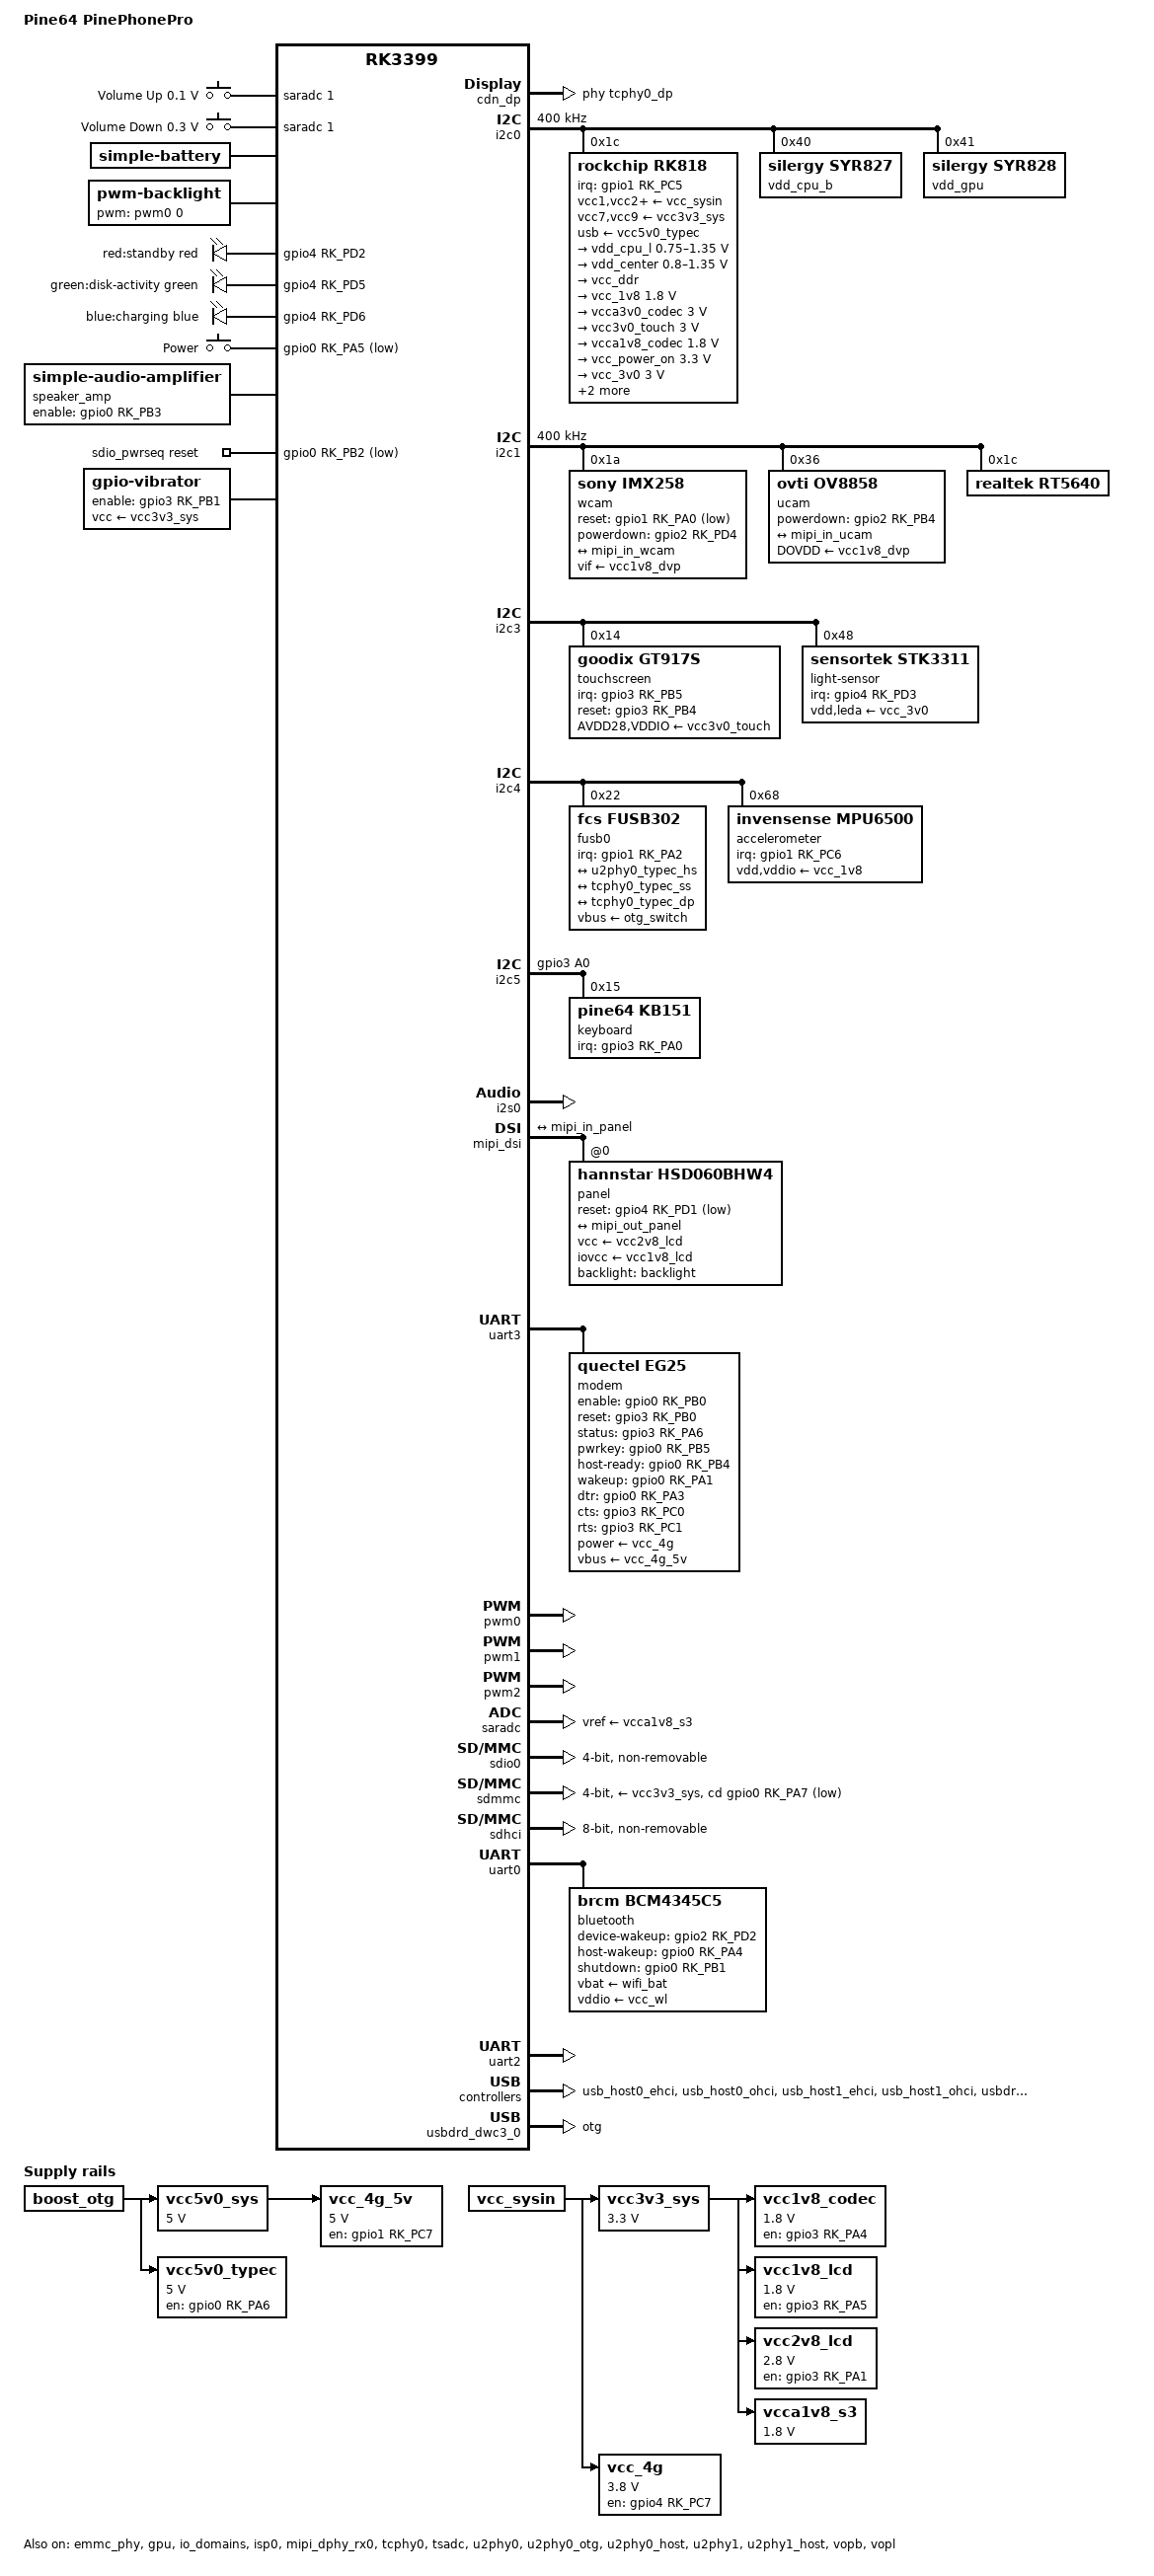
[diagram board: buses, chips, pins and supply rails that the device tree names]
// SPDX-License-Identifier: (GPL-2.0+ OR MIT)
/*
 * Copyright (c) 2020 Martijn Braam <martijn@brixit.nl>
 * Copyright (c) 2021 Kamil Trzciński <ayufan@ayufan.eu>
 */

/dts-v1/;
#include <dt-bindings/input/gpio-keys.h>
#include <dt-bindings/input/linux-event-codes.h>
#include <dt-bindings/usb/pd.h>
#include <dt-bindings/leds/common.h>
#include "rk3399.dtsi"
#include "rk3399-opp.dtsi"

/ {
	model = "Pine64 PinePhonePro";
	compatible = "pine64,pinephone-pro", "rockchip,rk3399";
	chassis-type = "handset";

	aliases {
		mmc0 = &sdio0;
		mmc1 = &sdmmc;
		mmc2 = &sdhci;
	};

	chosen {
		bootargs = "earlycon=uart8250,mmio32,0xff1a0000";
		stdout-path = "serial2:1500000n8";
	};

	adc-keys {
		compatible = "adc-keys";
		io-channels = <&saradc 1>;
		io-channel-names = "buttons";
		keyup-threshold-microvolt = <1600000>;
		poll-interval = <100>;

		button-up {
			label = "Volume Up";
			linux,code = <KEY_VOLUMEUP>;
			press-threshold-microvolt = <100000>;
		};

		button-down {
			label = "Volume Down";
			linux,code = <KEY_VOLUMEDOWN>;
			press-threshold-microvolt = <300000>;
		};
	};

        bat: battery {
                compatible = "simple-battery";
                voltage-min-design-microvolt = <3400000>;
                voltage-max-design-microvolt = <4350000>;
                energy-full-design-microwatt-hours = <11400000>;
                charge-full-design-microamp-hours = <3000000>;
                precharge-current-microamp = <120000>;
                charge-term-current-microamp = <150000>;
                constant-charge-current-max-microamp = <1500000>;
                constant-charge-voltage-max-microvolt = <4350000>;
                factory-internal-resistance-micro-ohms = <150000>;
                resistance-temp-table = <20 150>;
                ocv-capacity-celsius = <20>;
                ocv-capacity-table-0 =
			<4308000 100>,
			<4217000 95>,
			<4161000 90>,
			<4110000 85>,
			<4066000 80>,
			<4007000 75>,
			<3974000 70>,
			<3937000 65>,
			<3896000 60>,
			<3853000 55>,
			<3827000 50>,
			<3807000 45>,
			<3793000 40>,
			<3780000 35>,
			<3768000 30>,
			<3756000 25>,
			<3740000 20>,
			<3716000 15>,
			<3689000 10>,
			<3675000 5>,
			<3400000 0>;
        };

	cluster1_opp_ppp: opp-table1b {
		compatible = "operating-points-v2";
		opp-shared;

		opp00 {
			opp-hz = /bits/ 64 <408000000>;
			opp-microvolt = <800000>;
			clock-latency-ns = <40000>;
		};
		opp01 {
			opp-hz = /bits/ 64 <600000000>;
			opp-microvolt = <800000>;
		};
		opp02 {
			opp-hz = /bits/ 64 <816000000>;
			opp-microvolt = <825000>;
		};
		opp03 {
			opp-hz = /bits/ 64 <1008000000>;
			opp-microvolt = <875000>;
		};
		opp04 {
			opp-hz = /bits/ 64 <1200000000>;
			opp-microvolt = <950000>;
		};
		opp05 {
			opp-hz = /bits/ 64 <1416000000>;
			opp-microvolt = <1025000>;
		};
	};

	backlight: backlight {
		compatible = "pwm-backlight";
		pwms = <&pwm0 0 1000000 0>;
		pwm-delay-us = <10000>;
	};

	leds {
		compatible = "gpio-leds";
		pinctrl-names = "default";
		pinctrl-0 = <&red_led_pin &green_led_pin &blue_led_pin>;

		led-standby {
			color = <LED_COLOR_ID_RED>;
			default-state = "off";
			function = LED_FUNCTION_STANDBY;
			gpios = <&gpio4 RK_PD2 GPIO_ACTIVE_HIGH>;
			label = "red:standby";
			panic-indicator;
			retain-state-suspended;
		};

		led-pwr {
			color = <LED_COLOR_ID_GREEN>;
			default-state = "on";
			function = LED_FUNCTION_POWER;
			gpios = <&gpio4 RK_PD5 GPIO_ACTIVE_HIGH>;
			label = "green:disk-activity";
		};

		blue-charging {
			color = <LED_COLOR_ID_BLUE>;
			default-state = "off";
			function = LED_FUNCTION_CHARGING;
			gpios = <&gpio4 RK_PD6 GPIO_ACTIVE_HIGH>;
			label = "blue:charging";
		};
	};

	gpio-key-power {
		compatible = "gpio-keys";
		pinctrl-names = "default";
		pinctrl-0 = <&pwrbtn_pin>;

		power {
			debounce-interval = <20>;
			gpios = <&gpio0 RK_PA5 GPIO_ACTIVE_LOW>;
			label = "Power";
			linux,code = <KEY_POWER>;
			wakeup-source;
		};
	};

	// in1  - digital mic daughhterboard
	// in2  - headset mic
	// in3  - modem output  (muxed with mono)
	// spol - earphone
	// hpo  - heaphones
	// lout - modem input
	// spaker - amp enabled by SPK_CTL_H
	//
	// mclk - GPIO4_A0/I2S_CLK
	//
	// some gpio-jack-detection driver?
	//pinctrl-0 = <&hp_det>; // GPIO4_D4

	rt5640-sound {
		compatible = "simple-audio-card";
		simple-audio-card,name = "rockchip,rt5640-codec";
		simple-audio-card,aux-devs = <&speaker_amp>;
		simple-audio-card,format = "i2s";
		simple-audio-card,mclk-fs = <256>;

		simple-audio-card,widgets =
			"Microphone", "Headset Microphone",
			"Microphone", "Internal Microphone",
			"Headphone", "Headphone Jack",
			"Speaker", "Internal Earpiece",
			"Speaker", "Internal Speaker",
			"Line", "Line In Modem",
			"Line", "Line Out Modem";

		simple-audio-card,routing =
			"Headphone Jack", "HPOL",
			"Headphone Jack", "HPOR",
			"Internal Earpiece", "SPOLP",
			"Internal Earpiece", "SPOLN",
			"Internal Speaker", "Speaker Amp OUTL",
			"Internal Speaker", "Speaker Amp OUTR",
			"Speaker Amp INL", "HPOL",
			"Speaker Amp INR", "HPOR",
			"DMIC1", "Internal Microphone",
			"Headset Microphone", "MICBIAS1",
			"IN2P", "Headset Microphone",
			"Line Out Modem", "LOUTL",
			"Line Out Modem", "LOUTR",
			"IN3P", "Line In Modem",
			"IN3N", "Line In Modem";

		simple-audio-card,cpu {
			sound-dai = <&i2s0>;
		};

		simple-audio-card,codec {
			sound-dai = <&rt5640>;
		};
	};

	speaker_amp: audio-amplifier {
		compatible = "simple-audio-amplifier";
		pinctrl-names = "default";
		pinctrl-0 = <&spk_en>;
		enable-gpios = <&gpio0 RK_PB3 GPIO_ACTIVE_HIGH>;
		sound-name-prefix = "Speaker Amp";
	};

	sdio_pwrseq: sdio-pwrseq {
		compatible = "mmc-pwrseq-simple";
		clocks = <&rk818 1>;
		clock-names = "ext_clock";
		pinctrl-names = "default";
		pinctrl-0 = <&wifi_enable_h>;
		post-power-on-delay-ms = <100>;
		power-off-delay-us = <500000>;

		/* WL_REG_ON on module */
		reset-gpios = <&gpio0 RK_PB2 GPIO_ACTIVE_LOW>;
	};

	vibrator {
		compatible = "gpio-vibrator";
		enable-gpios = <&gpio3 RK_PB1 GPIO_ACTIVE_HIGH>;
		vcc-supply = <&vcc3v3_sys>;
	};

	/* Power tree */
	/* Root power source */
	vcc_sysin: vcc-sysin {
		compatible = "regulator-fixed";
		regulator-name = "vcc_sysin";
		regulator-always-on;
		regulator-boot-on;
	};

	vcc5v0_sys: vcc5v0-host-regulator {
		compatible = "regulator-fixed";
		regulator-name = "vcc5v0_sys";
		regulator-min-microvolt = <5000000>;
		regulator-max-microvolt = <5000000>;
		regulator-always-on;
		regulator-boot-on;
		vin-supply = <&boost_otg>;

		regulator-state-mem {
			regulator-on-in-suspend;
		};
	};

	/*
	 * This is not a regulator. GPIO0_A6 is used to force enable VCC_SYS <->
	 * VBAT+ Q7 switch that helps boost the RK818's power path's current carrying
	 * capacity when operating the phone from the battery in case VBUS_TYPEC
	 * has 5V provided by the phone itself and not by the external power
	 * supply. (this happens in USB host mode)
	 *
	 * GPIO0_A6 low: Q7 is enabled if there's 0V on VBUS_TYPEC (phone is not
	 *               powered from external power supply)
	 * GPIO0_A6 high: Q7 is enabled no matter what
	 *
	 * GPIO0_A6 must be high when the phone is providing VBUS_TYPEC power.
	 * This keeps the power path boost enabled for all cases when the phone
	 * runs from the battery.                                                                                      
	 *
	 * In other words, GPIO0_A6 is used to override the automatic disabling
	 * of Q7 when VBUS_TYPEC has 5V in USB host mode.
	 */
	vcc5v0_typec: vcc5v0-typec-regulator {
		compatible = "regulator-fixed";
		enable-active-high;
		gpio = <&gpio0 RK_PA6 GPIO_ACTIVE_HIGH>;
		pinctrl-names = "default";
		pinctrl-0 = <&vcc5v0_typec_en>;
		regulator-min-microvolt = <5000000>;
		regulator-max-microvolt = <5000000>;
		regulator-name = "vcc5v0_typec";
		vin-supply = <&boost_otg>;

		regulator-state-mem {
			regulator-on-in-suspend;
		};
	};

	/* Main 3.3v supply */
	vcc3v3_sys: wifi_bat: vcc3v3-sys {
		compatible = "regulator-fixed";
		regulator-name = "vcc3v3_sys";
		regulator-always-on;
		regulator-boot-on;
		regulator-min-microvolt = <3300000>;
		regulator-max-microvolt = <3300000>;
		vin-supply = <&vcc_sysin>;

		regulator-state-mem {
			regulator-on-in-suspend;
		};
	};

	vcc_4g_5v: vcc-4g-5v {
		compatible = "regulator-fixed";
		enable-active-high;
		gpio = <&gpio1 RK_PC7 GPIO_ACTIVE_HIGH>;
		pinctrl-names = "default";
		pinctrl-0 = <&vcc_4g_5v_en>;
		regulator-name = "vcc_4g_5v";
		regulator-min-microvolt = <5000000>;
		regulator-max-microvolt = <5000000>;
		vin-supply = <&vcc5v0_sys>;
	};

	vcc_4g: vcc-4g {
		compatible = "regulator-fixed";
		enable-active-high;
		gpio = <&gpio4 RK_PC7 GPIO_ACTIVE_HIGH>;
		pinctrl-names = "default";
		pinctrl-0 = <&vcc_4g_en>;
		regulator-name = "vcc_4g";
		regulator-min-microvolt = <3800000>;
		regulator-max-microvolt = <3800000>;
		vin-supply = <&vcc_sysin>;
	};

	vcc1v8_codec: vcc1v8-codec-regulator {
		compatible = "regulator-fixed";
		enable-active-high;
		gpio = <&gpio3 RK_PA4 GPIO_ACTIVE_HIGH>;
		pinctrl-names = "default";
		pinctrl-0 = <&vcc1v8_codec_en>;
		regulator-name = "vcc1v8_codec";
		regulator-always-on;
		regulator-boot-on;
		regulator-min-microvolt = <1800000>;
		regulator-max-microvolt = <1800000>;
		vin-supply = <&vcc3v3_sys>;
	};

	/* MIPI DSI panel 1.8v supply */
	vcc1v8_lcd: vcc1v8-lcd {
		compatible = "regulator-fixed";
		enable-active-high;
		regulator-name = "vcc1v8_lcd";
		regulator-min-microvolt = <1800000>;
		regulator-max-microvolt = <1800000>;
		vin-supply = <&vcc3v3_sys>;
		gpio = <&gpio3 RK_PA5 GPIO_ACTIVE_HIGH>;
		pinctrl-names = "default";
		pinctrl-0 = <&display_pwren1>;
	};

	/* MIPI DSI panel 2.8v supply */
	vcc2v8_lcd: vcc2v8-lcd {
		compatible = "regulator-fixed";
		enable-active-high;
		regulator-name = "vcc2v8_lcd";
		regulator-min-microvolt = <2800000>;
		regulator-max-microvolt = <2800000>;
		vin-supply = <&vcc3v3_sys>;
		gpio = <&gpio3 RK_PA1 GPIO_ACTIVE_HIGH>;
		pinctrl-names = "default";
		pinctrl-0 = <&display_pwren>;
	};

	vcca1v8_s3: vcc1v8-s3 {
		compatible = "regulator-fixed";
		regulator-name = "vcca1v8_s3";
		regulator-min-microvolt = <1800000>;
		regulator-max-microvolt = <1800000>;
		vin-supply = <&vcc3v3_sys>;
		regulator-always-on;
		regulator-boot-on;
	};

	typec_extcon_bridge: typec-extcon {
		compatible = "linux,typec-extcon-bridge";
		usb-role-switch;
		orientation-switch;
		mode-switch;
		svid = /bits/ 16 <0xff01>;
	};
};

&cpu_l0 {
	cpu-supply = <&vdd_cpu_l>;
};

&cpu_l1 {
	cpu-supply = <&vdd_cpu_l>;
};

&cpu_l2 {
	cpu-supply = <&vdd_cpu_l>;
};

&cpu_l3 {
	cpu-supply = <&vdd_cpu_l>;
};

&cpu_b0 {
	cpu-supply = <&vdd_cpu_b>;
	operating-points-v2 = <&cluster1_opp_ppp>;
};

&cpu_b1 {
	cpu-supply = <&vdd_cpu_b>;
	operating-points-v2 = <&cluster1_opp_ppp>;
};

&cdn_dp {
	status = "okay";
	extcon = <&typec_extcon_bridge>;
	phys = <&tcphy0_dp>;
};

&emmc_phy {
	status = "okay";
};

&gpu {
	mali-supply = <&vdd_gpu>;
	status = "okay";
};

&i2c0 {
	clock-frequency = <400000>;
	i2c-scl-rising-time-ns = <168>;
	i2c-scl-falling-time-ns = <4>;
	status = "okay";

	rk818: pmic@1c {
		compatible = "rockchip,rk818";
		reg = <0x1c>;
		interrupt-parent = <&gpio1>;
		interrupts = <RK_PC5 IRQ_TYPE_LEVEL_LOW>;
		#clock-cells = <1>;
		clock-output-names = "xin32k", "rk808-clkout2";
		pinctrl-names = "default";
		pinctrl-0 = <&pmic_int_l>;
		rockchip,system-power-controller;
		wakeup-source;

		vcc1-supply = <&vcc_sysin>;
		vcc2-supply = <&vcc_sysin>;
		vcc3-supply = <&vcc_sysin>;
		vcc4-supply = <&vcc_sysin>;
		vcc6-supply = <&vcc_sysin>;
		vcc7-supply = <&vcc3v3_sys>;
		vcc8-supply = <&vcc_sysin>;
		vcc9-supply = <&vcc3v3_sys>;
		usb-supply = <&vcc5v0_typec>;

		regulators {
			vdd_cpu_l: DCDC_REG1 {
				regulator-name = "vdd_cpu_l";
				regulator-always-on;
				regulator-boot-on;
				regulator-min-microvolt = <750000>;
				regulator-max-microvolt = <1350000>;
				regulator-ramp-delay = <6001>;
				regulator-state-mem {
					regulator-off-in-suspend;
				};
			};

			vdd_center: DCDC_REG2 {
				regulator-name = "vdd_center";
				regulator-always-on;
				regulator-boot-on;
				regulator-min-microvolt = <800000>;
				regulator-max-microvolt = <1350000>;
				regulator-ramp-delay = <6001>;
				regulator-state-mem {
					regulator-off-in-suspend;
				};
			};

			vcc_ddr: DCDC_REG3 {
				regulator-name = "vcc_ddr";
				regulator-always-on;
				regulator-boot-on;
				regulator-state-mem {
					regulator-on-in-suspend;
				};
			};

			vcc_1v8: vcc_wl: DCDC_REG4 {
				regulator-name = "vcc_1v8";
				regulator-always-on;
				regulator-boot-on;
				regulator-min-microvolt = <1800000>;
				regulator-max-microvolt = <1800000>;
				regulator-state-mem {
					regulator-on-in-suspend;
					regulator-suspend-microvolt = <1800000>;
				};
			};

			vcca3v0_codec: LDO_REG1 {
				regulator-name = "vcca3v0_codec";
				regulator-always-on;
				regulator-boot-on;
				regulator-min-microvolt = <3000000>;
				regulator-max-microvolt = <3000000>;
				regulator-state-mem {
					regulator-off-in-suspend;
				};
			};

			vcc3v0_touch: LDO_REG2 {
				regulator-name = "vcc3v0_touch";
				regulator-always-on;
				regulator-boot-on;
				regulator-min-microvolt = <3000000>;
				regulator-max-microvolt = <3000000>;
				regulator-state-mem {
					regulator-off-in-suspend;
				};
			};

			vcca1v8_codec: LDO_REG3 {
				regulator-name = "vcca1v8_codec";
				regulator-always-on;
				regulator-boot-on;
				regulator-min-microvolt = <1800000>;
				regulator-max-microvolt = <1800000>;
				regulator-state-mem {
					regulator-off-in-suspend;
				};
			};

			vcc_power_on: LDO_REG4 {
				regulator-name = "vcc_power_on";
				regulator-always-on;
				regulator-boot-on;
				regulator-min-microvolt = <3300000>;
				regulator-max-microvolt = <3300000>;
				regulator-state-mem {
					regulator-on-in-suspend;
					regulator-suspend-microvolt = <3300000>;
				};
			};

			vcc_3v0: LDO_REG5 {
				regulator-name = "vcc_3v0";
				regulator-always-on;
				regulator-boot-on;
				regulator-min-microvolt = <3000000>;
				regulator-max-microvolt = <3000000>;
				regulator-state-mem {
					regulator-on-in-suspend;
					regulator-suspend-microvolt = <3000000>;
				};
			};

			vcc_1v5: LDO_REG6 {
				regulator-name = "vcc_1v5";
				regulator-always-on;
				regulator-boot-on;
				regulator-min-microvolt = <1500000>;
				regulator-max-microvolt = <1500000>;
				regulator-state-mem {
					regulator-on-in-suspend;
					regulator-suspend-microvolt = <1500000>;
				};
			};

			vcc1v8_dvp: LDO_REG7 {
				regulator-name = "vcc1v8_dvp";
				regulator-min-microvolt = <1800000>;
				regulator-max-microvolt = <1800000>;
				regulator-state-mem {
					regulator-off-in-suspend;
				};
			};

			vcc3v3_s3: LDO_REG8 {
				regulator-name = "vcc3v3_s3";
				regulator-always-on;
				regulator-boot-on;
				regulator-min-microvolt = <3300000>;
				regulator-max-microvolt = <3300000>;
				regulator-state-mem {
					regulator-off-in-suspend;
				};
			};

			vccio_sd: LDO_REG9 {
				regulator-name = "vccio_sd";
				regulator-min-microvolt = <1800000>;
				regulator-max-microvolt = <3300000>;
				regulator-state-mem {
					regulator-on-in-suspend;
					regulator-suspend-microvolt = <3300000>;
				};
			};

			vcc3v3_s0: SWITCH_REG {
				regulator-name = "vcc3v3_s0";
				regulator-always-on;
				regulator-boot-on;
				regulator-state-mem {
					regulator-on-in-suspend;
				};
			};

			boost_otg: DCDC_BOOST {
				regulator-name = "boost_otg";
				regulator-always-on;
				regulator-boot-on;
				regulator-min-microvolt = <5000000>;
				regulator-max-microvolt = <5000000>;
				regulator-state-mem {
					regulator-on-in-suspend;
					regulator-suspend-microvolt = <5000000>;
				};
			};

			otg_switch: OTG_SWITCH {
				regulator-name = "otg_switch";
			};
		};

		/*
		 * XXX: Backported BSP stuff, drop this. Use standard
		 * "monitored-battery" property.
		 */
		battery {
			compatible = "rockchip,rk818-battery";
			ocv_table = <3400 3675 3689 3716 3740 3756 3768 3780
				3793 3807 3827 3853 3896 3937 3974 4007 4066
				4110 4161 4217 4308>;
			design_capacity = <2916>;
			design_qmax = <2708>;
			bat_res = <150>;
			max_input_current = <3000>;
			max_chrg_current = <2000>;
			max_chrg_voltage = <4350>;
			sleep_enter_current = <300>;
			sleep_exit_current = <300>;
			power_off_thresd = <3400>;
			zero_algorithm_vol = <3950>;
			fb_temperature = <105>;
			sample_res = <10>;
			max_soc_offset = <60>;
			energy_mode = <0>;
			monitor_sec = <5>;
			virtual_power = <0>;
			power_dc2otg = <0>;
			otg5v_suspend_enable = <1>;
		};

		charger {
			compatible = "rockchip,rk818-charger";
			power-supplies = <&fusb0>;
			monitored-battery = <&bat>;
		};
	};

	vdd_cpu_b: regulator@40 {
		compatible = "silergy,syr827";
		reg = <0x40>;
		fcs,suspend-voltage-selector = <1>;
		pinctrl-names = "default";
		pinctrl-0 = <&vsel1_pin>;
		regulator-name = "vdd_cpu_b";
		regulator-min-microvolt = <712500>;
		regulator-max-microvolt = <1500000>;
		regulator-ramp-delay = <1000>;
		regulator-always-on;
		regulator-boot-on;

		regulator-state-mem {
			regulator-off-in-suspend;
		};
	};

	vdd_gpu: regulator@41 {
		compatible = "silergy,syr828";
		reg = <0x41>;
		fcs,suspend-voltage-selector = <1>;
		pinctrl-names = "default";
		pinctrl-0 = <&vsel2_pin>;
		regulator-name = "vdd_gpu";
		regulator-min-microvolt = <712500>;
		regulator-max-microvolt = <1500000>;
		regulator-ramp-delay = <1000>;
		regulator-always-on;
		regulator-boot-on;

		regulator-state-mem {
			regulator-off-in-suspend;
		};
	};
};

/*
 * Cameras:
 *
 * cif clk out = gpio2 B3 / CIF_CLKOUTA_u
 *
 * both on i2c1  GPIO4_A1 (SDA) / GPIO4_A2 (SCL)
 *
 * both share power:
 * VCC1V8_DVP         - LDO7  - supplied by VCC7 (VCC3V3_SYS)
 * DVDD_DVP     1.5V  - autoenabled by VCC2V8_DVP   depends on VCC1V8_S3 (U118 supplies 1.2V, though, not 1.5V)
 * VCC2V8_DVP   af    - autoenabled by VCC1V8_DVP   depends on VCC3V3_SYS
 * AVDD2V8_DVP        - autoenabled by VCC1V8_DVP   depends on VCC3V3_SYS
 *
 * mipi0  = imx258
 *   reset = gpio1 A0
 *   powerdown = GPIO2_B4
 *
 * mipi1  = OV5640
 *   powerdown = GPIO2_D4
 *
 *   bt656-supply = <&vcc1v8_dvp>;
 */
&i2c1 {
	status = "okay";

	clock-frequency = <400000>;
	i2c-scl-rising-time-ns = <300>;
	i2c-scl-falling-time-ns = <15>;

	pinctrl-0 = <&i2c1_xfer &cif_clkouta>;

	assigned-clocks = <&cru SCLK_CIF_OUT &cru SCLK_CIF_OUT_SRC>;
	assigned-clock-parents = <&cru SCLK_CIF_OUT_SRC &cru PLL_GPLL>;
	assigned-clock-rates = <19200000 0>;

	/* Rear-facing camera */
	wcam: camera@1a {
		compatible = "sony,imx258";
		reg = <0x1a>;
		pinctrl-names = "default";
		pinctrl-0 = <&wcam_rst &wcam_pdn>;

		clocks = <&cru SCLK_CIF_OUT>;
		clock-names = "xvclk";

		vif-supply = <&vcc1v8_dvp>;
		/*XXX: also depends on vcca1v8_codec for I2C bus power */

		reset-gpios = <&gpio1 RK_PA0 GPIO_ACTIVE_LOW>;
		powerdown-gpios = <&gpio2 RK_PD4 GPIO_ACTIVE_HIGH>;
		rotation = <180>;

		port {
			wcam_out: endpoint {
				remote-endpoint = <&mipi_in_wcam>;
				data-lanes = <1 2 3 4>;
				link-frequencies = /bits/ 64 <320000000>;
				//link-frequencies = /bits/ 64 <633600000>;
			};
		};
	};

	/* Front-facing camera */
	ucam: camera@36 {
		compatible = "ovti,ov8858";
		reg = <0x36>;
		pinctrl-names = "default";
		pinctrl-0 = <&ucam_pdn>;

		clocks = <&cru SCLK_CIF_OUT>;
		clock-names = "xclk";

		DOVDD-supply = <&vcc1v8_dvp>;
		/*XXX: also depends on vcca1v8_codec for I2C bus power */

		powerdown-gpios = <&gpio2 RK_PB4 GPIO_ACTIVE_HIGH>;

		rotation = <180>;
//		status = "disabled";

		port {
			ucam_out: endpoint {
				remote-endpoint = <&mipi_in_ucam>;
				data-lanes = <1 2>;
				clock-lanes = <0>;
			};
		};
	};

	// XXX: modem codec supplies:
	// - vcc1v8_codec
	// - vcca3v0_codec

	// supplies: (always on currently)
	// - vcca3v0_codec
	// - vcca1v8_codec
	// - vcc5v0_sys - spk_vcc
	rt5640: rt5640@1c {
		compatible = "realtek,rt5640";
		reg = <0x1c>;
		clocks = <&cru SCLK_I2S_8CH_OUT>;
		clock-names = "mclk";
		realtek,dmic1-data-pin = <1>;
		realtek,in3-differential;
		#sound-dai-cells = <0>;
	};
};

&i2c3 {
	i2c-scl-rising-time-ns = <450>;
	i2c-scl-falling-time-ns = <15>;
	status = "okay";

	touchscreen@14 {
		compatible = "goodix,gt917s";
		reg = <0x14>;
		interrupt-parent = <&gpio3>;
		interrupts = <RK_PB5 IRQ_TYPE_EDGE_RISING>;
		use-dt-irq-flags;
		irq-gpios = <&gpio3 RK_PB5 GPIO_ACTIVE_HIGH>;
		reset-gpios = <&gpio3 RK_PB4 GPIO_ACTIVE_HIGH>;
		AVDD28-supply = <&vcc3v0_touch>;
		VDDIO-supply = <&vcc3v0_touch>;
		touchscreen-size-x = <720>;
		touchscreen-size-y = <1440>;
		poweroff-in-suspend;
	};

	light-sensor@48 {
		compatible = "sensortek,stk3311";
		reg = <0x48>;
		interrupt-parent = <&gpio4>;
		interrupts = <RK_PD3 IRQ_TYPE_EDGE_FALLING>;
		vdd-supply = <&vcc_3v0>;
		leda-supply = <&vcc_3v0>;
	};
};

&i2c4 {
	i2c-scl-rising-time-ns = <600>;
	i2c-scl-falling-time-ns = <20>;
	status = "okay";

	fusb0: typec-portc@22 {
		compatible = "fcs,fusb302";
		reg = <0x22>;
		interrupt-parent = <&gpio1>;
		interrupts = <RK_PA2 IRQ_TYPE_LEVEL_LOW>;
		pinctrl-names = "default";
		pinctrl-0 = <&fusb0_int>;
		extcon = <&typec_extcon_bridge>;
		usb-role-switch = <&typec_extcon_bridge>;
		vbus-supply = <&otg_switch>;

		connector {
			compatible = "usb-c-connector";
			data-role = "dual";
			label = "USB-C";
			op-sink-microwatt = <2500000>;
			power-role = "dual";
			sink-pdos = <PDO_FIXED(5000, 3000, PDO_FIXED_USB_COMM | PDO_FIXED_DUAL_ROLE | PDO_FIXED_DATA_SWAP)>;
			source-pdos = <PDO_FIXED(5000, 900, PDO_FIXED_USB_COMM | PDO_FIXED_DUAL_ROLE | PDO_FIXED_DATA_SWAP)>;
			try-power-role = "sink";
			mode-switch = <&typec_extcon_bridge>;
			orientation-switch = <&typec_extcon_bridge>;

			altmodes {
				dp {
					svid = <0xff01>;
					vdo = <0x0c0046>;
				};
			};

			ports {
				#address-cells = <1>;
				#size-cells = <0>;

				port@0 {
					reg = <0>;

					usbc_hs: endpoint {
						remote-endpoint =
							<&u2phy0_typec_hs>;
					};
				};

				port@1 {
					reg = <1>;

					usbc_ss: endpoint {
						remote-endpoint =
							<&tcphy0_typec_ss>;
					};
				};

				port@2 {
					reg = <2>;

					usbc_dp: endpoint {
						remote-endpoint =
							<&tcphy0_typec_dp>;
					};
				};
			};
		};
	};

	accelerometer@68 {
		compatible = "invensense,mpu6500";
		reg = <0x68>;
		interrupt-parent = <&gpio1>;
		interrupts = <RK_PC6 IRQ_TYPE_LEVEL_LOW>;
		vdd-supply = <&vcc_1v8>;
		vddio-supply = <&vcc_1v8>;

		mount-matrix =
			"1", "0", "0",
			"0", "-1", "0",
			"0", "0", "1";
	};

	lis3mdl: magnetometer@1c {
		compatible = "st,lis3mdl-magn";
		reg = <0x1c>;
		interrupt-parent = <&gpio1>;
		interrupts = <RK_PA1 IRQ_TYPE_LEVEL_LOW>;
		vdd-supply = <&vcc3v3_sys>;
		vddio-supply = <&vcc_1v8>;
		status = "disabled";
	};

	// not populated currently
	ak09911: compass@c {
		compatible = "asahi-kasei,ak09911";
		reg = <0x0c>;
		interrupt-parent = <&gpio1>;
		interrupts = <RK_PA1 IRQ_TYPE_LEVEL_LOW>;
		vdd-supply = <&vcc_3v0>;
		vid-supply = <&vcc_1v8>;
		status = "disabled";
	};
};

/* This bus is exposed on POGO pins */
&i2c5 {
	i2c-scl-rising-time-ns = <450>;
	i2c-scl-falling-time-ns = <15>;
	pinctrl-0 = <&i2c5_xfer &pogo_int_pin>;
	status = "okay";

	keyboard@15 {
		compatible = "pine64,kb151";
		reg = <0x15>;
		interrupt-parent = <&gpio3>;
		interrupts = <RK_PA0 IRQ_TYPE_EDGE_FALLING>;
		wakeup-source;
	};
};

&i2s0 {
	rockchip,playback-channels = <2>;
	rockchip,capture-channels = <2>;
	pinctrl-0 = <&i2s0_2ch_bus>;
	status = "okay";
};

&io_domains {
	status = "okay";

	bt656-supply = <&vcc1v8_dvp>;
	audio-supply = <&vcca1v8_codec>;
	sdmmc-supply = <&vccio_sd>;
	gpio1830-supply = <&vcc_3v0>;
};

&isp0 {
	status = "okay";

	ports {
		port@0 {
			mipi_in_wcam: endpoint@0 {
				reg = <0>;
				remote-endpoint = <&wcam_out>;
				data-lanes = <1 2 3 4>;
			};
		};
	};
};

&mipi_dphy_rx0 {
	status = "okay";
};

&isp1 {
	//status = "okay";

	ports {
		port@0 {
			mipi_in_ucam: endpoint@0 {
				reg = <0>;
				remote-endpoint = <&ucam_out>;
				data-lanes = <1 2>;
			};
		};
	};
};

&isp0_mmu {
	status = "okay";
};

&isp1_mmu {
	//status = "okay";
};

&mipi_dsi1 {
	//status = "okay";
};

&mipi_dsi {
	status = "okay";
	clock-master;

	ports {
		mipi_out: port@1 {
			#address-cells = <0>;
			#size-cells = <0>;
			reg = <1>;

			mipi_out_panel: endpoint {
				remote-endpoint = <&mipi_in_panel>;
			};
		};
	};

	panel@0 {
		compatible = "hannstar,hsd060bhw4";
		reg = <0>;
		backlight = <&backlight>;
		reset-gpios = <&gpio4 RK_PD1 GPIO_ACTIVE_LOW>;
		vcc-supply = <&vcc2v8_lcd>; // 2v8
		iovcc-supply = <&vcc1v8_lcd>; // 1v8
		pinctrl-names = "default";
		pinctrl-0 = <&display_rst_l>;

		port {
			mipi_in_panel: endpoint {
				remote-endpoint = <&mipi_out_panel>;
			};
		};
	};
};

&uart3 {
	status = "okay";

	modem {
		compatible = "quectel,eg25";
		char-device-name = "modem-power";

		pinctrl-names = "default";
		pinctrl-0 = <&modem_control_pins>;

		power-supply = <&vcc_4g>;
		vbus-supply = <&vcc_4g_5v>;

		enable-gpios = <&gpio0 RK_PB0 GPIO_ACTIVE_HIGH>; // W_DISABLE#
		reset-gpios = <&gpio3 RK_PB0 GPIO_ACTIVE_HIGH>;
		status-gpios = <&gpio3 RK_PA6 GPIO_ACTIVE_HIGH>;
		pwrkey-gpios = <&gpio0 RK_PB5 GPIO_ACTIVE_HIGH>;

		host-ready-gpios = <&gpio0 RK_PB4 GPIO_ACTIVE_HIGH>; // apready
		wakeup-gpios = <&gpio0 RK_PA1 GPIO_ACTIVE_HIGH>; // ri

		dtr-gpios = <&gpio0 RK_PA3 GPIO_ACTIVE_HIGH>;
		cts-gpios = <&gpio3 RK_PC0 GPIO_ACTIVE_HIGH>;
		rts-gpios = <&gpio3 RK_PC1 GPIO_ACTIVE_HIGH>;

		quectel,qdai = "3,0,0,4,0,0,1,1";
	};
};

&pmu_io_domains {
	pmu1830-supply = <&vcc_1v8>;
	status = "okay";
};

&pinctrl {
	bt {
		bt_enable_h: bt-enable-h {
			rockchip,pins = <0 RK_PB1 RK_FUNC_GPIO &pcfg_pull_none>;
		};

		bt_host_wake_l: bt-host-wake-l {
			rockchip,pins = <0 RK_PA4 RK_FUNC_GPIO &pcfg_pull_down>;
		};

		bt_wake_l: bt-wake-l {
			rockchip,pins = <2 RK_PD2 RK_FUNC_GPIO &pcfg_pull_none>;
		};
	};

	buttons {
		pwrbtn_pin: pwrbtn-pin {
			rockchip,pins = <0 RK_PA5 RK_FUNC_GPIO &pcfg_pull_up>;
		};
	};

	camera {
		wcam_rst: wcam-rst {
			rockchip,pins = <1 RK_PA0 RK_FUNC_GPIO &pcfg_pull_none>;
		};

		wcam_pdn: wcam-pdn {
			rockchip,pins = <2 RK_PD4 RK_FUNC_GPIO &pcfg_pull_none>;
		};

		ucam_pdn: ucam-pdn {
			rockchip,pins = <2 RK_PB4 RK_FUNC_GPIO &pcfg_pull_none>;
		};
	};

	fusb302x {
		fusb0_int: fusb0-int {
			rockchip,pins = <1 RK_PA2 RK_FUNC_GPIO &pcfg_pull_up>;
		};
	};

	leds {
		red_led_pin: red-led-pin {
			rockchip,pins = <4 RK_PD2 RK_FUNC_GPIO &pcfg_pull_none>;
		};

		green_led_pin: green-led-pin {
			rockchip,pins = <4 RK_PD5 RK_FUNC_GPIO &pcfg_pull_none>;
		};

		blue_led_pin: blue-led-pin {
			rockchip,pins = <4 RK_PD6 RK_FUNC_GPIO &pcfg_pull_none>;
		};
	};

	modem {
		vcc_4g_5v_en: vcc-4g-5v-en-pin {
			rockchip,pins = <1 RK_PC7 RK_FUNC_GPIO &pcfg_pull_none>;
		};

		vcc_4g_en: vcc-4g-en-pin {
			rockchip,pins = <4 RK_PC7 RK_FUNC_GPIO &pcfg_pull_none>;
		};

		modem_control_pins: modem-control-pins {
			rockchip,pins =
				<0 RK_PB0 RK_FUNC_GPIO &pcfg_pull_none>,
				<3 RK_PB0 RK_FUNC_GPIO &pcfg_pull_none>,
				<3 RK_PA6 RK_FUNC_GPIO &pcfg_pull_none>,
				<0 RK_PB5 RK_FUNC_GPIO &pcfg_pull_none>,
				<0 RK_PB4 RK_FUNC_GPIO &pcfg_pull_none>,
				<0 RK_PA1 RK_FUNC_GPIO &pcfg_pull_none>,
				<0 RK_PA3 RK_FUNC_GPIO &pcfg_pull_none>,
				<3 RK_PC0 RK_FUNC_GPIO &pcfg_pull_none>,
				<3 RK_PC1 RK_FUNC_GPIO &pcfg_pull_none>;
		};
	};

	pmic {
		pmic_int_l: pmic-int-l {
			rockchip,pins = <1 RK_PC5 RK_FUNC_GPIO &pcfg_pull_up>;
		};

		vsel1_pin: vsel1-pin {
			rockchip,pins = <1 RK_PC1 RK_FUNC_GPIO &pcfg_pull_down>;
		};

		vsel2_pin: vsel2-pin {
			rockchip,pins = <1 RK_PB6 RK_FUNC_GPIO &pcfg_pull_down>;
		};
	};

	pogo {
		pogo_int_pin: pogo-int {
			rockchip,pins = <3 RK_PA0 RK_FUNC_GPIO &pcfg_pull_up>;
		};
	};

	sdcard {
		sdmmc0_pwr_h: sdmmc0-pwr-h {
			rockchip,pins = <0 RK_PA1 RK_FUNC_GPIO &pcfg_pull_none>;
		};

	};

	sdio-pwrseq {
		wifi_enable_h: wifi-enable-h {
			rockchip,pins = <0 RK_PB2 RK_FUNC_GPIO &pcfg_pull_none>;
		};
	};

	usb-typec {
		vcc5v0_typec_en: vcc5v0_typec_en {
			rockchip,pins = <0 RK_PA6 RK_FUNC_GPIO &pcfg_pull_up>;
		};
	};

	dsi {
		display_rst_l: display-rst-l {
			rockchip,pins = <4 RK_PD1 RK_FUNC_GPIO &pcfg_pull_down>;
		};

		display_pwren: display-pwren {
			rockchip,pins = <3 RK_PA1 RK_FUNC_GPIO &pcfg_pull_down>;
		};

		display_pwren1: display-pwren1 {
			rockchip,pins = <3 RK_PA5 RK_FUNC_GPIO &pcfg_pull_down>;
		};
	};

	sound {
		vcc1v8_codec_en: vcc1v8-codec-en {
			rockchip,pins = <3 RK_PA4 RK_FUNC_GPIO &pcfg_pull_down>;
		};

		hp_det: hp-det {
			rockchip,pins = <4 RK_PD4 RK_FUNC_GPIO &pcfg_pull_none>;
		};

		spk_en: spk-en {
			rockchip,pins = <0 RK_PB3 RK_FUNC_GPIO &pcfg_pull_none>;
		};
	};
};

&pwm0 {
	status = "okay";
};

&pwm1 {
	status = "okay";
};

&pwm2 {
	status = "okay";
};

&saradc {
	vref-supply = <&vcca1v8_s3>;
	status = "okay";
};

&sdio0 {
	bus-width = <4>;
	cap-sd-highspeed;
	cap-sdio-irq;
	disable-wp;
	keep-power-in-suspend;
	mmc-pwrseq = <&sdio_pwrseq>;
	non-removable;
	pinctrl-names = "default";
	pinctrl-0 = <&sdio0_bus4 &sdio0_cmd &sdio0_clk>;
	sd-uhs-sdr104;
	status = "okay";
};

&sdmmc {
	bus-width = <4>;
	cap-sd-highspeed;
	cd-gpios = <&gpio0 RK_PA7 GPIO_ACTIVE_LOW>;
	disable-wp;
	max-frequency = <150000000>;
	pinctrl-names = "default";
	pinctrl-0 = <&sdmmc_clk &sdmmc_cmd &sdmmc_cd &sdmmc_bus4>;
	vmmc-supply = <&vcc3v3_sys>;
	vqmmc-supply = <&vccio_sd>;
	status = "okay";
};

&sdhci {
	bus-width = <8>;
	mmc-hs200-1_8v;
	non-removable;
	status = "okay";
};

&tcphy0 {
	extcon = <&typec_extcon_bridge>;
	status = "okay";
};

&tcphy0_dp {
	port {
		tcphy0_typec_dp: endpoint {
			remote-endpoint = <&usbc_dp>;
		};
	};
};

&tcphy0_usb3 {
	port {
		tcphy0_typec_ss: endpoint {
			remote-endpoint = <&usbc_ss>;
		};
	};
};

&tsadc {
	/* tshut mode 0:CRU 1:GPIO */
	rockchip,hw-tshut-mode = <1>;
	/* tshut polarity 0:LOW 1:HIGH */
	rockchip,hw-tshut-polarity = <1>;
	status = "okay";
};

&u2phy0 {
	status = "okay";
	extcon = <&typec_extcon_bridge>;
	extcon,ignore-usb;

	port {
		u2phy0_typec_hs: endpoint {
			remote-endpoint = <&usbc_hs>;
		};
	};
};

&u2phy0_otg {
	status = "okay";
};

&u2phy0_host {
	status = "okay";
	phy-supply = <&vcc5v0_sys>;
};

&u2phy1 {
	status = "okay";
};

&u2phy1_host {
	status = "okay";
	phy-supply = <&vcc5v0_sys>;
};

&uart0 {
	pinctrl-names = "default";
	pinctrl-0 = <&uart0_xfer &uart0_cts &uart0_rts>;
	uart-has-rtscts;
	status = "okay";

	bluetooth {
		compatible = "brcm,bcm4345c5";
		clocks = <&rk818 1>;
		clock-names = "lpo";
		device-wakeup-gpios = <&gpio2 RK_PD2 GPIO_ACTIVE_HIGH>;
		host-wakeup-gpios = <&gpio0 RK_PA4 GPIO_ACTIVE_HIGH>;
		max-speed = <1500000>;
		pinctrl-names = "default";
		pinctrl-0 = <&bt_host_wake_l &bt_wake_l &bt_enable_h>;
		shutdown-gpios = <&gpio0 RK_PB1 GPIO_ACTIVE_HIGH>;
		vbat-supply = <&wifi_bat>;
		vddio-supply = <&vcc_wl>;
	};
};

&uart2 {
	status = "okay";
};

&usb_host0_ehci {
	status = "okay";
};

&usb_host0_ohci {
	status = "okay";
};

&usb_host1_ehci {
	status = "okay";
};

&usb_host1_ohci {
	status = "okay";
};

&usbdrd3_0 {
	status = "okay";
};

&usbdrd_dwc3_0 {
	dr_mode = "otg";
	extcon = <&typec_extcon_bridge>;
	status = "okay";
};

&vopb {
	status = "okay";
	assigned-clocks = <&cru DCLK_VOP0_DIV>, <&cru DCLK_VOP0>, <&cru ACLK_VOP0>, <&cru HCLK_VOP0>;
	assigned-clock-rates = <0>, <0>, <400000000>, <100000000>;
	assigned-clock-parents = <&cru PLL_CPLL>, <&cru DCLK_VOP0_FRAC>;
};

&vopb_mmu {
	status = "okay";
};

&vopl {
	status = "okay";
	assigned-clocks = <&cru DCLK_VOP1_DIV>, <&cru DCLK_VOP1>, <&cru ACLK_VOP1>, <&cru HCLK_VOP1>;
	assigned-clock-rates = <0>, <0>, <400000000>, <100000000>;
	assigned-clock-parents = <&cru PLL_CPLL>, <&cru DCLK_VOP1_FRAC>;
};

&vopl_mmu {
	status = "okay";
};
